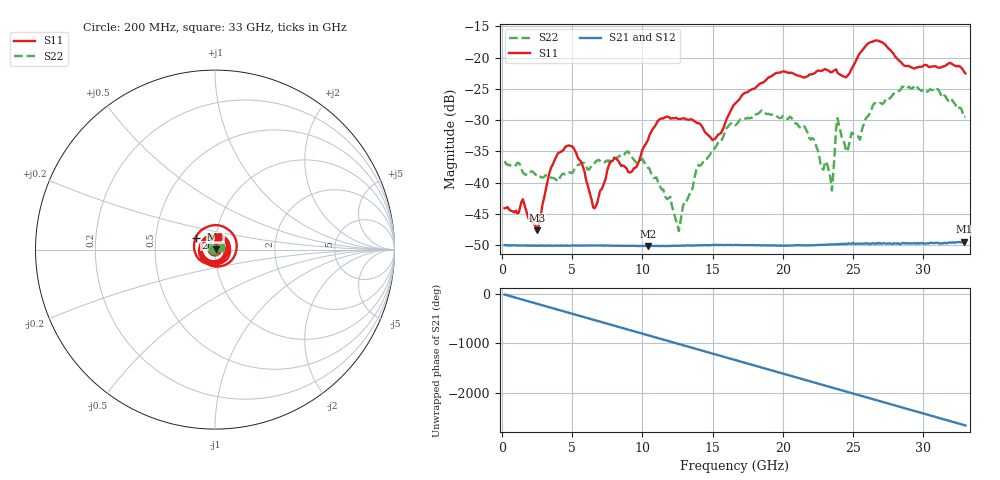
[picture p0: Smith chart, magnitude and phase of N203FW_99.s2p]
# GHZ S RI R 50
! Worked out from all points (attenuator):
!   329 points, 200 MHz to 33 GHz, reference 50 ohm
!   highest |S21| = -49.42 dB at 32.9 GHz (marker M1); lowest = -50.1 dB at 10.4 GHz (marker M2)
!   lowest |S11| = -47.6 dB at 2.5 GHz (marker M3), VSWR 1.01, Z = 50.4 + j0.223 ohm
!   |S11| at or under -10 dB: start of sweep to end of sweep
!   |S22| runs from -47.7 to -24.5 dB; largest |S21 - S12| = 8.8e-05
!   S11 on the Smith chart (normalised r, x): 200 MHz: 1.01, +0.00; 26 GHz: 0.80, +0.11; 33 GHz: 1.03, +0.15
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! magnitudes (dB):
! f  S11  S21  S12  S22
! 200 MHz  -44.1  -50.0  -49.9  -36.5
! 1.5 GHz  -42.6  -50.0  -50.0  -38.4
! 2.5 GHz  -47.6  -50.1  -50.0  -38.9
! 4 GHz  -35.3  -50.0  -50.0  -39.8
! 5.7 GHz  -37.0  -50.0  -50.0  -36.8
! 6.6 GHz  -44.1  -50.0  -50.0  -36.9
! 7.7 GHz  -36.8  -50.0  -50.0  -36.3
! 9.2 GHz  -38.3  -50.1  -50.0  -35.7
! 10.4 GHz  -33.2  -50.1  -50.1  -37.6
! 11.2 GHz  -29.9  -50.1  -50.1  -40.2
! 12.6 GHz  -29.8  -50.1  -50.0  -47.7
! 15 GHz  -33.2  -49.9  -49.9  -34.9
! 16.6 GHz  -27.4  -49.9  -49.9  -30.8
! 22.1 GHz  -22.7  -50.0  -50.0  -32.9
! 23.5 GHz  -22.3  -49.8  -49.8  -41.2
! 23.9 GHz  -22.5  -49.8  -49.8  -29.7
! 24.5 GHz  -23.2  -49.7  -49.7  -35.0
! 26 GHz  -17.9  -49.7  -49.7  -29.5
! 27.6 GHz  -18.7  -49.7  -49.7  -26.6
! 31 GHz  -21.6  -49.6  -49.6  -25.0
! 32.9 GHz  -22.2  -49.4  -49.4  -29.5
! 33 GHz  -22.5  -49.4  -49.5  -29.4
